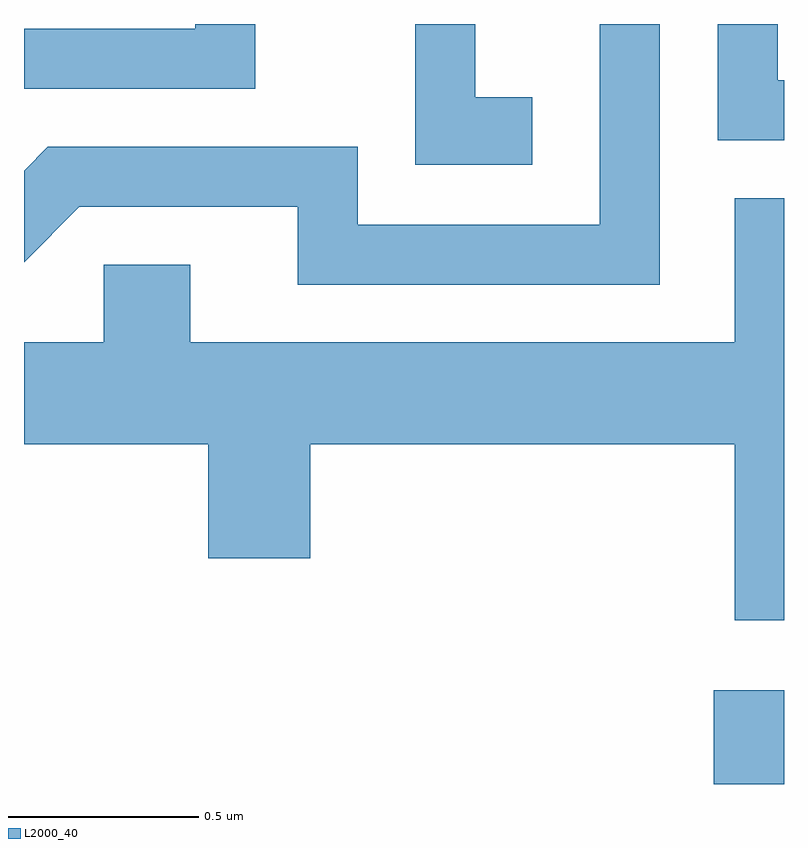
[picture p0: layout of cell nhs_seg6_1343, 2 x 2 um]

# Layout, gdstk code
import gdstk
lib = gdstk.Library(unit=1e-6, precision=1e-09)
def R(c, l, rs):  # rectangles x0, y0, x1, y1
    for r in rs: c.add(gdstk.rectangle(r[:2], r[2:], *l))
def P(c, l, *ps):  # polygons
    for p in ps: c.add(gdstk.Polygon(p, *l))
L2000_40 = (2000, 40)

nhs_seg6_1343 = lib.new_cell('nhs_seg6_1343')
R(nhs_seg6_1343, L2000_40, [(196.426,1640.162,196.611,1640.409)])
P(nhs_seg6_1343, L2000_40, [(195.949,1641.969),(195.799,1641.969),(195.799,1642.162),(195.641,1642.162),(195.641,1641.791),(195.949,1641.791)],
  [(196.611,1642.014),(196.594,1642.014),(196.594,1642.162),(196.436,1642.162),(196.436,1641.856),(196.611,1641.856)],
  [(195.219,1642.162),(195.061,1642.162),(195.061,1642.149),(194.611,1642.149),(194.611,1641.991),(195.219,1641.991)],
  [(196.284,1642.162),(196.126,1642.162),(196.126,1641.634),(195.489,1641.634),(195.489,1641.839),(194.674,1641.839),(194.611,1641.776),(194.611,1641.535),(194.757,1641.681),(195.331,1641.681),(195.331,1641.476),(196.284,1641.476)],
  [(196.611,1641.704),(196.481,1641.704),(196.481,1641.324),(195.049,1641.324),(195.049,1641.529),(194.821,1641.529),(194.821,1641.324),(194.611,1641.324),(194.611,1641.056),(195.096,1641.056),(195.096,1640.756),(195.364,1640.756),(195.364,1641.056),(196.481,1641.056),(196.481,1640.593),(196.611,1640.593)])

lib.write_gds('nhs_seg6_1343.gds')
